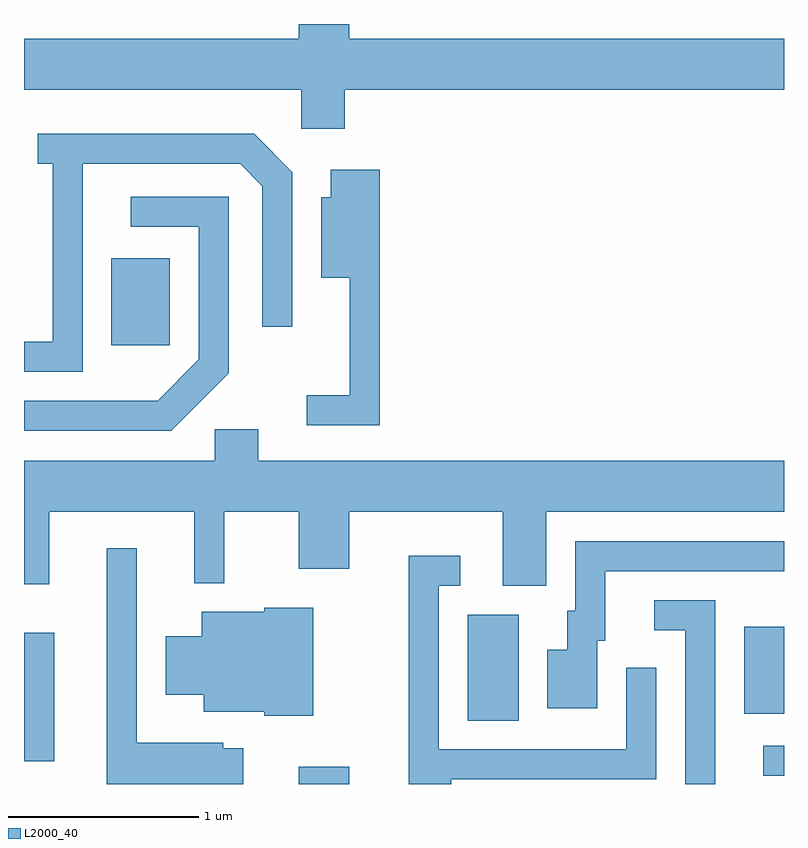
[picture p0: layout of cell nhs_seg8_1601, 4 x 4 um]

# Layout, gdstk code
import gdstk
lib = gdstk.Library(unit=1e-6, precision=1e-09)
def R(c, l, rs):  # rectangles x0, y0, x1, y1
    for r in rs: c.add(gdstk.rectangle(r[:2], r[2:], *l))
def P(c, l, *ps):  # polygons
    for p in ps: c.add(gdstk.Polygon(p, *l))
L2000_40 = (2000, 40)

nhs_seg8_1601 = lib.new_cell('nhs_seg8_1601')
R(nhs_seg8_1601, L2000_40, [(235.056,1808.342,235.324,1808.434), (237.503,1808.386,237.611,1808.544), (233.611,1808.461,233.769,1809.139), (235.946,1808.676,236.214,1809.234), (237.401,1808.711,237.611,1809.169), (234.071,1810.651,234.379,1811.109)])
P(nhs_seg8_1601, L2000_40, [(235.299,1811.996),(237.611,1811.996),(237.611,1812.264),(235.324,1812.264),(235.324,1812.342),(235.056,1812.342),(235.056,1812.264),(233.611,1812.264),(233.611,1811.996),(235.071,1811.996),(235.071,1811.791),(235.299,1811.791)],
  [(233.919,1811.606),(234.749,1811.606),(234.866,1811.489),(234.866,1810.748),(235.024,1810.748),(235.024,1811.562),(234.822,1811.764),(233.683,1811.764),(233.683,1811.606),(233.761,1811.606),(233.761,1810.669),(233.611,1810.669),(233.611,1810.511),(233.919,1810.511)],
  [(235.484,1811.574),(235.226,1811.574),(235.226,1811.429),(235.176,1811.429),(235.176,1811.006),(235.326,1811.006),(235.326,1810.389),(235.098,1810.389),(235.098,1810.231),(235.484,1810.231)],
  [(234.689,1810.504),(234.689,1811.434),(234.173,1811.434),(234.173,1811.276),(234.531,1811.276),(234.531,1810.577),(234.314,1810.359),(233.611,1810.359),(233.611,1810.201),(234.387,1810.201)],
  [(236.359,1809.776),(237.611,1809.776),(237.611,1810.044),(234.844,1810.044),(234.844,1810.209),(234.616,1810.209),(234.616,1810.044),(233.611,1810.044),(233.611,1809.393),(233.744,1809.393),(233.744,1809.776),(234.506,1809.776),(234.506,1809.398),(234.664,1809.398),(234.664,1809.776),(235.056,1809.776),(235.056,1809.476),(235.324,1809.476),(235.324,1809.776),(236.131,1809.776),(236.131,1809.386),(236.359,1809.386)],
  [(236.629,1809.096),(236.669,1809.096),(236.669,1809.461),(237.611,1809.461),(237.611,1809.619),(236.511,1809.619),(236.511,1809.254),(236.471,1809.254),(236.471,1809.049),(236.366,1809.049),(236.366,1808.741),(236.629,1808.741)],
  [(234.764,1808.529),(234.659,1808.529),(234.659,1808.559),(234.204,1808.559),(234.204,1809.583),(234.046,1809.583),(234.046,1808.342),(234.764,1808.342)],
  [(235.859,1808.366),(236.939,1808.366),(236.939,1808.953),(236.781,1808.953),(236.781,1808.524),(235.794,1808.524),(235.794,1809.386),(235.908,1809.386),(235.908,1809.544),(235.636,1809.544),(235.636,1808.342),(235.859,1808.342)],
  [(237.249,1809.309),(236.928,1809.309),(236.928,1809.151),(237.091,1809.151),(237.091,1808.342),(237.249,1808.342)],
  [(235.134,1809.269),(234.876,1809.269),(234.876,1809.249),(234.546,1809.249),(234.546,1809.119),(234.356,1809.119),(234.356,1808.811),(234.556,1808.811),(234.556,1808.721),(234.876,1808.721),(234.876,1808.701),(235.134,1808.701)])

lib.write_gds('nhs_seg8_1601.gds')
